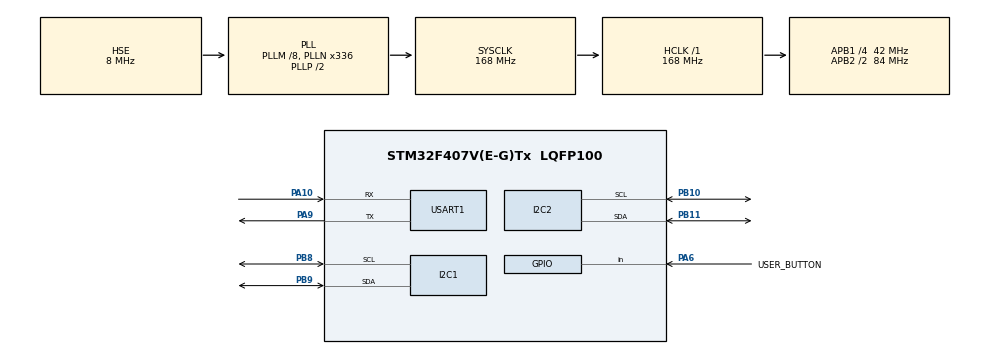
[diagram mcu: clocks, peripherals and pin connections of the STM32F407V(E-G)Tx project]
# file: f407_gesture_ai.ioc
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FREERTOS.Tasks01=defaultTask,24,128,StartDefaultTask,Default,NULL,Dynamic,NULL,NULL
Mcu.Family=STM32F4
Mcu.Name=STM32F407V(E-G)Tx
Mcu.Package=LQFP100
NVIC.PriorityGroup=NVIC_PRIORITYGROUP_4
PA10.Mode=Asynchronous
PA10.Signal=USART1_RX
PA13.Mode=Serial_Wire
PA13.Signal=SYS_JTMS-SWDIO
PA14.Mode=Serial_Wire
PA14.Signal=SYS_JTCK-SWCLK
PA6.GPIO_Label=USER_BUTTON
PA6.GPIO_PuPd=GPIO_PULLUP
PA6.Signal=GPIO_Input
PA9.Mode=Asynchronous
PA9.Signal=USART1_TX
PB10.Mode=I2C
PB10.Signal=I2C2_SCL
PB11.Mode=I2C
PB11.Signal=I2C2_SDA
PB8.Mode=I2C
PB8.Signal=I2C1_SCL
PB9.Mode=I2C
PB9.Signal=I2C1_SDA
PH0-OSC_IN.Mode=HSE-External-Oscillator
PH0-OSC_IN.Signal=RCC_OSC_IN
PH1-OSC_OUT.Mode=HSE-External-Oscillator
PH1-OSC_OUT.Signal=RCC_OSC_OUT
ProjectManager.HeapSize=0x200
ProjectManager.StackSize=0x400
ProjectManager.TargetToolchain=MDK-ARM V5
RCC.48MHZClocksFreq_Value=48000000
RCC.AHBFreq_Value=168000000
RCC.APB1CLKDivider=RCC_HCLK_DIV4
RCC.APB1Freq_Value=42000000
RCC.APB1TimFreq_Value=84000000
RCC.APB2CLKDivider=RCC_HCLK_DIV2
RCC.APB2Freq_Value=84000000
RCC.APB2TimFreq_Value=168000000
RCC.CortexFreq_Value=168000000
RCC.HCLKFreq_Value=168000000
RCC.HSE_VALUE=8000000
RCC.HSI_VALUE=16000000
RCC.LSE_VALUE=32768
RCC.PLLM=8
RCC.PLLN=336
RCC.SYSCLKFreq_VALUE=168000000
RCC.SYSCLKSource=RCC_SYSCLKSOURCE_PLLCLK
RCC.VCOOutputFreq_Value=336000000
USART1.VirtualMode=VM_ASYNC
VP_FREERTOS_VS_CMSIS_V2.Mode=CMSIS_V2
VP_TIM6_VS_ClockSourceINT.Mode=Enable_Timer
board=custom

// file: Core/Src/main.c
/* USER CODE BEGIN Header */
/**
  ******************************************************************************
  * @file           : main.c
  * @brief          : Main program body
  ******************************************************************************
  * @attention
  *
  * Copyright (c) 2026 STMicroelectronics.
  * All rights reserved.
  *
  * This software is licensed under terms that can be found in the LICENSE file
  * in the root directory of this software component.
  * If no LICENSE file comes with this software, it is provided AS-IS.
  *
  ******************************************************************************
  */
/* USER CODE END Header */
#include "main.h"
#include "cmsis_os.h"
#include "i2c.h"
#include "tim.h"
#include "usart.h"
#include "gpio.h"
#include "app_config.h"
#include "uart_tx.h"

void SystemClock_Config(void);
void MX_FREERTOS_Init(void);

int main(void)
{

  /* MCU Configuration--------------------------------------------------------*/

  /* Reset of all peripherals, Initializes the Flash interface and the Systick. */
  HAL_Init();

  /* Configure the system clock */
  SystemClock_Config();

  /* Initialize all configured peripherals */
  MX_GPIO_Init();
  MX_I2C1_Init();
  MX_I2C2_Init();
  MX_USART1_UART_Init();
  MX_TIM6_Init();
  /* USER CODE BEGIN 2 */
#if APP_UART_TX_DMA
  /* USART1 TX is drained by DMA; the ring must exist before the scheduler
   * starts and before any task can log. */
  UartTx_Init(&huart1);
#endif
  /* USER CODE END 2 */

  /* Init scheduler */
  osKernelInitialize();  /* Call init function for freertos objects (in cmsis_os2.c) */
  MX_FREERTOS_Init();

  /* Start scheduler */
  osKernelStart();

  /* We should never get here as control is now taken by the scheduler */

  /* Infinite loop */
  while (1)
  {

  }
}

void SystemClock_Config(void)
{
  RCC_OscInitTypeDef RCC_OscInitStruct = {0};
  RCC_ClkInitTypeDef RCC_ClkInitStruct = {0};

  /** Configure the main internal regulator output voltage
  */
  __HAL_RCC_PWR_CLK_ENABLE();
  __HAL_PWR_VOLTAGESCALING_CONFIG(PWR_REGULATOR_VOLTAGE_SCALE1);

  /** Initializes the RCC Oscillators according to the specified parameters
  * in the RCC_OscInitTypeDef structure.
  */
  /* This board has an 8 MHz HSE crystal (Y2). 8 MHz / PLLM 8 = 1 MHz VCO
   * input, x PLLN 336 = 336 MHz VCO, / PLLP 2 = 168 MHz SYSCLK,
   * / PLLQ 7 = 48 MHz for USB/SDIO. */
  RCC_OscInitStruct.OscillatorType = RCC_OSCILLATORTYPE_HSE;
  RCC_OscInitStruct.HSEState = RCC_HSE_ON;
  RCC_OscInitStruct.PLL.PLLState = RCC_PLL_ON;
  RCC_OscInitStruct.PLL.PLLSource = RCC_PLLSOURCE_HSE;
  RCC_OscInitStruct.PLL.PLLM = 8;
  RCC_OscInitStruct.PLL.PLLN = 336;
  RCC_OscInitStruct.PLL.PLLP = RCC_PLLP_DIV2;
  RCC_OscInitStruct.PLL.PLLQ = 7;
  if (HAL_RCC_OscConfig(&RCC_OscInitStruct) != HAL_OK)
  {
    /* Do not brick the board if the crystal differs: fall back to HSI at
     * 168 MHz so the firmware can still boot and report over UART. */
    RCC_OscInitStruct.OscillatorType = RCC_OSCILLATORTYPE_HSI;
    RCC_OscInitStruct.HSIState = RCC_HSI_ON;
    RCC_OscInitStruct.HSICalibrationValue = RCC_HSICALIBRATION_DEFAULT;
    RCC_OscInitStruct.PLL.PLLState = RCC_PLL_ON;
    RCC_OscInitStruct.PLL.PLLSource = RCC_PLLSOURCE_HSI;
    RCC_OscInitStruct.PLL.PLLM = 8;
    RCC_OscInitStruct.PLL.PLLN = 168;
    RCC_OscInitStruct.PLL.PLLP = RCC_PLLP_DIV2;
    RCC_OscInitStruct.PLL.PLLQ = 4;
    if (HAL_RCC_OscConfig(&RCC_OscInitStruct) != HAL_OK)
    {
      Error_Handler();
    }
  }

  /** Initializes the CPU, AHB and APB buses clocks
  */
  RCC_ClkInitStruct.ClockType = RCC_CLOCKTYPE_HCLK|RCC_CLOCKTYPE_SYSCLK
                              |RCC_CLOCKTYPE_PCLK1|RCC_CLOCKTYPE_PCLK2;
  RCC_ClkInitStruct.SYSCLKSource = RCC_SYSCLKSOURCE_PLLCLK;
  RCC_ClkInitStruct.AHBCLKDivider = RCC_SYSCLK_DIV1;
  RCC_ClkInitStruct.APB1CLKDivider = RCC_HCLK_DIV4;
  RCC_ClkInitStruct.APB2CLKDivider = RCC_HCLK_DIV2;

  if (HAL_RCC_ClockConfig(&RCC_ClkInitStruct, FLASH_LATENCY_5) != HAL_OK)
  {
    Error_Handler();
  }
}

void Error_Handler(void)
{
  __disable_irq();
  while (1)
  {
  }
}

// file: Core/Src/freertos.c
/* USER CODE BEGIN Header */
/**
  ******************************************************************************
  * File Name          : freertos.c
  * Description        : Application tasks for the gesture recognition demo.
  ******************************************************************************
  * @attention
  *
  * Copyright (c) 2026 STMicroelectronics.
  * All rights reserved.
  *
  * This software is licensed under terms that can be found in the LICENSE file
  * in the root directory of this software component.
  * If no LICENSE file comes with this software, it is provided AS-IS.
  *
  ******************************************************************************
  */
/* USER CODE END Header */

#include "FreeRTOS.h"
#include "task.h"
#include "main.h"
#include "cmsis_os.h"
#include "i2c.h"
#include "tim.h"
#include "usart.h"
#include "mpu6050.h"
#include "gesture_preprocess.h"
#include "gesture_event.h"
#include "gesture_inference.h"
#include "oled_ssd1306.h"
#include "gesture_proto.h"
#include "app_config.h"
#include "app_events.h"
#include "uart_tx.h"
#include <string.h>

/* USER CODE BEGIN Variables */
static GestureEvent gesture_event;
static MPU6050_RawData imu_baseline;
static MPU6050_RawData downsampled_sequence[APP_SEQUENCE_SAMPLES];
static int8_t gesture_input[GESTURE_WINDOW_SIZE * GESTURE_FEATURE_COUNT];
static osThreadId_t inferenceTaskHandle;
static osMutexId_t uart_mutex;

static uint8_t inference_ready = 0U;
static uint8_t imu_ready = 0U;
static uint8_t oled_ready = 0U;

/* Written by the TIM6 ISR, consumed by StartDefaultTask. */
static volatile uint32_t s_sample_tick;
static volatile uint8_t s_sample_pending;
static volatile uint32_t s_sample_overruns;

/* Command channel (AA 55 + func + len + payload + CRC16). */
static uint8_t g_proto_capture_req = 0xFFU;  /* 0xFF = none, 0 = stop, 1 = start */
static uint8_t g_tx_frame[PROTO_MAX_FRAME];

static uint32_t s_imu_error_count;
static uint32_t s_imu_last_retry;

static void Proto_HandleCommands(uint8_t *capture_active);
static void Proto_SendStatus(uint8_t capture_active);
static void Proto_SendAck(uint8_t func, uint8_t code);
static void Proto_SendFrame(uint8_t func, const uint8_t *payload, uint8_t len);

/* USER CODE END Variables */
/* Definitions for defaultTask */
osThreadId_t defaultTaskHandle;
const osThreadAttr_t defaultTask_attributes = {
  .name = "defaultTask",
  .stack_size = APP_STACK_DEFAULT_BYTES,
  .priority = (osPriority_t) osPriorityNormal,
};
const osThreadAttr_t inferenceTask_attributes = {
  .name = "inferenceTask",
  .stack_size = APP_STACK_INFERENCE_BYTES,
  .priority = (osPriority_t) osPriorityBelowNormal,
};

/* USER CODE BEGIN FunctionPrototypes */
static void Debug_SendText(const char *text);
static void Debug_SendWhoAmI(uint8_t who_am_i);
static void Debug_SendClock(void);
static void Debug_SendStack(uint32_t free_bytes);
static void Debug_SendLatency(uint32_t cycles);
static void Debug_EnableCycleCounter(void);
static void Debug_ScanI2C2(void);
static void Debug_ScanI2C1(void);
static void Debug_SendBuffer(const char *buffer, uint16_t length);
static char *Debug_AppendText(char *cursor, const char *text);
static char *Debug_AppendU32(char *cursor, uint32_t value);
static char *Debug_AppendI32(char *cursor, int32_t value);
static char *Debug_AppendHex8(char *cursor, uint8_t value);

static uint8_t Imu_InitAndCalibrate(int16_t *bias_x, int16_t *bias_y,
                                    int16_t *bias_z,
                                    MPU6050_RawData *baseline);
static uint8_t Imu_ReadAccelBaseline(MPU6050_RawData *baseline);
static void Capture_Start(void);
static void Capture_Stop(void);

/* USER CODE END FunctionPrototypes */

void StartDefaultTask(void *argument);
void StartInferenceTask(void *argument);

void MX_FREERTOS_Init(void); /* (MISRA C 2004 rule 8.1) */

void MX_FREERTOS_Init(void) {

  /* USER CODE BEGIN RTOS_MUTEX */
  uart_mutex = osMutexNew(NULL);
  /* USER CODE END RTOS_MUTEX */

  /* Create the thread(s) */
  defaultTaskHandle = osThreadNew(StartDefaultTask, NULL, &defaultTask_attributes);

  /* USER CODE BEGIN RTOS_THREADS */
  inferenceTaskHandle = osThreadNew(StartInferenceTask, NULL,
                                    &inferenceTask_attributes);
  /* USER CODE END RTOS_THREADS */

}

/* USER CODE BEGIN Application */

/* ==========================================================================
 * 100 Hz sample tick
 * ========================================================================== */
void App_OnSampleTickFromIsr(void)
{
  BaseType_t woken = pdFALSE;

  s_sample_tick = HAL_GetTick();
  if (s_sample_pending != 0U)
  {
    /* The previous tick has not been consumed yet.  Keep the newest timestamp
     * and count the miss instead of building an unbounded backlog. */
    ++s_sample_overruns;
  }
  s_sample_pending = 1U;

  if (defaultTaskHandle != NULL)
  {
    vTaskNotifyGiveFromISR((TaskHandle_t)defaultTaskHandle, &woken);
    portYIELD_FROM_ISR(woken);
  }
}

/* ==========================================================================
 * Command channel
 *   下行（设备 -> PC）: 0x01 状态, 0x7F 应答
 *   上行（PC -> 设备）: 0x81 查询状态, 0x87 运行控制
 *   帧: AA 55 | FUNC | LEN | PAYLOAD | CRC16_L CRC16_H
 * ========================================================================== */
static void Proto_SendFrame(uint8_t func, const uint8_t *payload, uint8_t len)
{
  uint16_t total = Proto_Pack(g_tx_frame, func, payload, len);
  if (total > 0U)
  {
    Debug_SendBuffer((const char *)g_tx_frame, total);
  }
}

static void Proto_SendAck(uint8_t func, uint8_t code)
{
  uint8_t payload[2];
  payload[0] = code;
  payload[1] = func;
  Proto_SendFrame(PROTO_F_ACK, payload, 2U);
}

static void Proto_SendStatus(uint8_t capture_active)
{
  uint8_t  payload[24];
  uint16_t i = 0U;
  uint32_t up = HAL_GetTick();
  uint32_t stack_free = (uint32_t)osThreadGetStackSpace(defaultTaskHandle);
  uint32_t overruns = s_sample_overruns;
  uint32_t uart_drops = UartTx_GetDropped();
  uint32_t imu_errors = s_imu_error_count;

  payload[i++] = capture_active;
  payload[i++] = inference_ready;
  payload[i++] = imu_ready;
  payload[i++] = (uint8_t)(up & 0xFFU);
  payload[i++] = (uint8_t)((up >> 8) & 0xFFU);
  payload[i++] = (uint8_t)((up >> 16) & 0xFFU);
  payload[i++] = (uint8_t)((up >> 24) & 0xFFU);
  payload[i++] = (uint8_t)(g_proto_stats.frames_ok & 0xFFU);
  payload[i++] = (uint8_t)((g_proto_stats.frames_ok >> 8) & 0xFFU);
  payload[i++] = (uint8_t)(g_proto_stats.frames_bad & 0xFFU);
  payload[i++] = (uint8_t)((g_proto_stats.frames_bad >> 8) & 0xFFU);
  payload[i++] = (uint8_t)(stack_free & 0xFFU);
  payload[i++] = (uint8_t)((stack_free >> 8) & 0xFFU);
  payload[i++] = (uint8_t)(overruns & 0xFFU);
  payload[i++] = (uint8_t)((overruns >> 8) & 0xFFU);
  payload[i++] = (uint8_t)(uart_drops & 0xFFU);
  payload[i++] = (uint8_t)((uart_drops >> 8) & 0xFFU);
  payload[i++] = (uint8_t)(imu_errors & 0xFFU);
  payload[i++] = (uint8_t)((imu_errors >> 8) & 0xFFU);
  payload[i++] = oled_ready;
  payload[i++] = (uint8_t)gesture_event.state;

  Proto_SendFrame(PROTO_F_STATUS, payload, (uint8_t)i);
}

static void Proto_HandleCommands(uint8_t *capture_active)
{
  uint8_t        func = 0U;
  uint8_t        len = 0U;
  const uint8_t *payload = 0;

  while (Proto_Pop(&func, &payload, &len) != 0)
  {
    switch (func)
    {
      case PROTO_F_REQ_STATUS:
        Proto_SendStatus((capture_active != 0) ? *capture_active : 0U);
        break;

      case PROTO_F_CTRL:
        if (len < 1U)
        {
          Proto_SendAck(func, PROTO_ACK_BAD_PARAM);
        }
        else if (payload[0] == PROTO_CTRL_CAPTURE_START)
        {
          g_proto_capture_req = 1U;   /* ack is sent after the mode switch */
        }
        else if (payload[0] == PROTO_CTRL_CAPTURE_STOP)
        {
          g_proto_capture_req = 0U;
        }
        else if (payload[0] == PROTO_CTRL_RESET)
        {
          Proto_StatsReset();
          Proto_SendAck(func, PROTO_ACK_OK);
        }
        else
        {
          Proto_SendAck(func, PROTO_ACK_BAD_PARAM);
        }
        break;

      default:
        Proto_SendAck(func, PROTO_ACK_BAD_FUNC);
        break;
    }
  }
}

/* ==========================================================================
 * Acquisition helpers
 * ========================================================================== */
static uint8_t Imu_ReadAccelBaseline(MPU6050_RawData *baseline)
{
  MPU6050_RawData sample;
  int32_t ax = 0;
  int32_t ay = 0;
  int32_t az = 0;
  uint16_t index;

  if (baseline == 0)
  {
    return 0U;
  }
  for (index = 0U; index < 50U; ++index)
  {
    if (MPU6050_ReadRaw(&hi2c2, &sample) != HAL_OK)
    {
      return 0U;
    }
    ax += sample.accel_x;
    ay += sample.accel_y;
    az += sample.accel_z;
    HAL_Delay(5U);
  }
  baseline->accel_x = (int16_t)(ax / 50);
  baseline->accel_y = (int16_t)(ay / 50);
  baseline->accel_z = (int16_t)(az / 50);
  baseline->gyro_x = 0;
  baseline->gyro_y = 0;
  baseline->gyro_z = 0;
  return 1U;
}

static uint8_t Imu_InitAndCalibrate(int16_t *bias_x, int16_t *bias_y,
                                    int16_t *bias_z,
                                    MPU6050_RawData *baseline)
{
  uint8_t who_am_i = 0U;

  if (MPU6050_Init(&hi2c2) != HAL_OK)
  {
    Debug_SendText("MPU6050 init failed\r\n");
    return 0U;
  }
  if (MPU6050_ReadWhoAmI(&hi2c2, &who_am_i) != HAL_OK)
  {
    Debug_SendText("MPU6050 WHO_AM_I read failed\r\n");
    return 0U;
  }

  Debug_SendWhoAmI(who_am_i);
  if (who_am_i != MPU6050_WHO_AM_I_VALUE)
  {
    Debug_SendText("MPU6050 unexpected WHO_AM_I\r\n");
    return 0U;
  }

  Debug_SendText("gyro calibration: keep sensor still\r\n");
  if (MPU6050_CalibrateGyro(&hi2c2,
                            APP_GYRO_CAL_SAMPLES,
                            APP_GYRO_CAL_INTERVAL_MS,
                            APP_GYRO_CAL_DISCARD,
                            bias_x, bias_y, bias_z) != HAL_OK)
  {
    Debug_SendText("gyro calibration failed\r\n");
    return 0U;
  }

  {
    char message[64];
    char *cursor = message;
    cursor = Debug_AppendText(cursor, "gyro_bias,");
    cursor = Debug_AppendI32(cursor, *bias_x);
    *cursor++ = ',';
    cursor = Debug_AppendI32(cursor, *bias_y);
    *cursor++ = ',';
    cursor = Debug_AppendI32(cursor, *bias_z);
    *cursor++ = '\r';
    *cursor++ = '\n';
    *cursor = '\0';
    Debug_SendBuffer(message, (uint16_t)(cursor - message));
  }

  if (Imu_ReadAccelBaseline(baseline) == 0U)
  {
    Debug_SendText("accel baseline failed\r\n");
    return 0U;
  }
  return 1U;
}

static void Capture_Start(void)
{
  Debug_SendText("capture,start\r\n");
  Debug_SendText("timestamp,ax,ay,az,gx,gy,gz\r\n");
  GestureEvent_Reset(&gesture_event);
}

static void Capture_Stop(void)
{
  Debug_SendText("capture,stop\r\n");
  GestureEvent_Reset(&gesture_event);
}

/* ==========================================================================
 * Default task: 100 Hz acquisition + command handling + button
 * ========================================================================== */
void StartDefaultTask(void *argument)
{
  MPU6050_RawData imu_data;
  int16_t gyro_bias_x = 0;
  int16_t gyro_bias_y = 0;
  int16_t gyro_bias_z = 0;
  uint32_t sample_index = 0U;
  uint32_t last_timestamp = 0U;
  char message[96];
  uint8_t capture_active = 0U;
  GPIO_PinState stable_button = HAL_GPIO_ReadPin(KEY0_GPIO_Port, KEY0_Pin);
  GPIO_PinState last_button = stable_button;
  uint32_t last_button_change = HAL_GetTick();

  (void)argument;

  memset(&imu_baseline, 0, sizeof(imu_baseline));
  memset(&gesture_event, 0, sizeof(gesture_event));
  inference_ready = 0U;
  oled_ready = 0U;

  Debug_SendText(APP_FIRMWARE_NAME " v" APP_FIRMWARE_VERSION " started\r\n");
  Debug_SendClock();

  imu_ready = Imu_InitAndCalibrate(&gyro_bias_x, &gyro_bias_y, &gyro_bias_z,
                                   &imu_baseline);
  if (imu_ready != 0U)
  {
    GestureEvent_Init(&gesture_event, &imu_baseline);
  }
  else
  {
    Debug_ScanI2C2();
    s_imu_last_retry = HAL_GetTick();
  }

  if (GestureInference_Init() != 0U)
  {
    inference_ready = 1U;
    Debug_SendText("gesture inference ready\r\n");
  }
  else
  {
    Debug_SendText("gesture inference init failed\r\n");
  }

#if APP_ENABLE_OLED
  if (OLED_Init(&hi2c1) != 0U)
  {
    oled_ready = 1U;
    OLED_ShowGesture("neutral", 100U);
    Debug_SendText("oled ready\r\n");
  }
  else
  {
    Debug_SendText("oled,no_device\r\n");
    Debug_ScanI2C1();
  }
#endif

  Debug_EnableCycleCounter();

#if APP_RUN_BOOT_BENCHMARK
  if (inference_ready != 0U)
  {
    int bench_class = -1;
    uint8_t bench_confidence = 0U;
    uint32_t wall_start;
    uint32_t wall_end;
    uint32_t cycle_start;
    uint32_t cycle_end;
    uint32_t cycles_per_us = SystemCoreClock / 1000000U;
    char *cursor = message;

    memset(gesture_input, 0, sizeof(gesture_input));
    wall_start = HAL_GetTick();
    cycle_start = DWT->CYCCNT;
    (void)GestureInference_Run(gesture_input, &bench_class, &bench_confidence);
    cycle_end = DWT->CYCCNT;
    wall_end = HAL_GetTick();

    cursor = Debug_AppendText(cursor, "bench_ms,");
    cursor = Debug_AppendU32(cursor, wall_end - wall_start);
    cursor = Debug_AppendText(cursor, ",bench_us,");
    cursor = Debug_AppendU32(cursor,
                             (cycle_end - cycle_start) /
                                 (cycles_per_us != 0U ? cycles_per_us : 1U));
    cursor = Debug_AppendText(cursor, ",arena_used,");
    cursor = Debug_AppendU32(cursor, GestureInference_GetArenaUsed());
    *cursor++ = '\r';
    *cursor++ = '\n';
    *cursor = '\0';
    Debug_SendBuffer(message, (uint16_t)(cursor - message));
  }
#endif

  Debug_SendStack(osThreadGetStackSpace(defaultTaskHandle));

  /* Start the 100 Hz hardware tick only after the scheduler is running. */
  (void)HAL_TIM_Base_Start_IT(&htim6);
  Debug_SendText("sampling,100\r\n");

  for (;;)
  {
    uint32_t now = HAL_GetTick();
    uint32_t sample_tick = 0U;
    uint8_t have_sample = 0U;
    GPIO_PinState raw_button;

    (void)ulTaskNotifyTake(pdTRUE, pdMS_TO_TICKS(20U));

    taskENTER_CRITICAL();
    if (s_sample_pending != 0U)
    {
      sample_tick = s_sample_tick;
      s_sample_pending = 0U;
      have_sample = 1U;
    }
    taskEXIT_CRITICAL();

    /* Command channel. */
    Proto_HandleCommands(&capture_active);
    if (g_proto_capture_req != 0xFFU)
    {
      uint8_t want = g_proto_capture_req;
      g_proto_capture_req = 0xFFU;
      if ((want != 0U) && (imu_ready == 0U))
      {
        Proto_SendAck(PROTO_F_CTRL, PROTO_ACK_BUSY);
      }
      else if (want != capture_active)
      {
        capture_active = want;
        if (want != 0U)
        {
          Capture_Start();
        }
        else
        {
          Capture_Stop();
        }
        GestureEvent_Reset(&gesture_event);
        Proto_SendAck(PROTO_F_CTRL, PROTO_ACK_OK);
      }
    }

    /* Button: KEY0 is active low, debounced in task context. */
    raw_button = HAL_GPIO_ReadPin(KEY0_GPIO_Port, KEY0_Pin);
    if (raw_button != last_button)
    {
      last_button = raw_button;
      last_button_change = now;
    }
    if ((now - last_button_change) >= APP_BUTTON_DEBOUNCE_MS &&
        raw_button != stable_button)
    {
      stable_button = raw_button;
      if (stable_button == GPIO_PIN_RESET)
      {
        if ((capture_active == 0U) && (imu_ready == 0U))
        {
          Debug_SendText("capture,unavailable\r\n");
        }
        else
        {
          capture_active = (capture_active == 0U) ? 1U : 0U;
          if (capture_active != 0U)
          {
            Capture_Start();
          }
          else
          {
            Capture_Stop();
          }
        }
      }
    }

    if (have_sample != 0U)
    {
      if (imu_ready != 0U)
      {
        if (MPU6050_ReadRaw(&hi2c2, &imu_data) == HAL_OK)
        {
          s_imu_error_count = 0U;
          imu_data.gyro_x = (int16_t)(imu_data.gyro_x - gyro_bias_x);
          imu_data.gyro_y = (int16_t)(imu_data.gyro_y - gyro_bias_y);
          imu_data.gyro_z = (int16_t)(imu_data.gyro_z - gyro_bias_z);

          if (capture_active != 0U)
          {
            char *cursor = message;
            if (sample_tick <= last_timestamp)
            {
              sample_tick = last_timestamp + 1U;
            }
            last_timestamp = sample_tick;

            cursor = Debug_AppendU32(cursor, sample_tick);
            *cursor++ = ',';
            cursor = Debug_AppendI32(cursor, imu_data.accel_x);
            *cursor++ = ',';
            cursor = Debug_AppendI32(cursor, imu_data.accel_y);
            *cursor++ = ',';
            cursor = Debug_AppendI32(cursor, imu_data.accel_z);
            *cursor++ = ',';
            cursor = Debug_AppendI32(cursor, imu_data.gyro_x);
            *cursor++ = ',';
            cursor = Debug_AppendI32(cursor, imu_data.gyro_y);
            *cursor++ = ',';
            cursor = Debug_AppendI32(cursor, imu_data.gyro_z);
            *cursor++ = '\r';
            *cursor++ = '\n';
            *cursor = '\0';
            Debug_SendBuffer(message, (uint16_t)(cursor - message));
          }
          else
          {
            if ((sample_index % APP_IDLE_IMU_LOG_EVERY) == 0U)
            {
              char *cursor = message;
              cursor = Debug_AppendText(cursor, "imu,");
              cursor = Debug_AppendI32(cursor, imu_data.accel_x);
              *cursor++ = ',';
              cursor = Debug_AppendI32(cursor, imu_data.accel_y);
              *cursor++ = ',';
              cursor = Debug_AppendI32(cursor, imu_data.accel_z);
              *cursor++ = ',';
              cursor = Debug_AppendI32(cursor, imu_data.gyro_x);
              *cursor++ = ',';
              cursor = Debug_AppendI32(cursor, imu_data.gyro_y);
              *cursor++ = ',';
              cursor = Debug_AppendI32(cursor, imu_data.gyro_z);
              *cursor++ = '\r';
              *cursor++ = '\n';
              *cursor = '\0';
              Debug_SendBuffer(message, (uint16_t)(cursor - message));
            }

            if (inference_ready != 0U)
            {
              uint8_t event_flags = GestureEvent_Update(&gesture_event, &imu_data);

              if ((event_flags & GESTURE_EVENT_FLAG_ONSET) != 0U)
              {
#if APP_DEBUG_EVENTS
                Debug_SendText("event,onset\r\n");
#endif
              }
              if ((event_flags & GESTURE_EVENT_FLAG_READY) != 0U)
              {
#if APP_DEBUG_EVENTS
                Debug_SendText("event,ready\r\n");
#endif
                GestureEvent_SetState(&gesture_event, GESTURE_EVENT_INFER);
                (void)osThreadFlagsSet(inferenceTaskHandle, 1U);
              }
              else if ((event_flags & GESTURE_EVENT_FLAG_RELEASED) != 0U)
              {
                Debug_SendText("gesture,neutral,100\r\n");
#if APP_ENABLE_OLED
                if (oled_ready != 0U)
                {
                  OLED_ShowGesture("neutral", 100U);
                }
#endif
              }
            }
          }
          ++sample_index;
        }
        else
        {
          ++s_imu_error_count;
          if (s_imu_error_count >= 10U)
          {
            imu_ready = 0U;
            s_imu_last_retry = now;
            Debug_SendText("imu,offline\r\n");
            if (capture_active != 0U)
            {
              capture_active = 0U;
              Capture_Stop();
            }
          }
        }
      }
    }

    /* Retry a missing sensor, but never while a capture is running. */
    if ((imu_ready == 0U) && (capture_active == 0U) &&
        ((now - s_imu_last_retry) >= APP_IMU_RETRY_MS))
    {
      s_imu_last_retry = now;
      imu_ready = Imu_InitAndCalibrate(&gyro_bias_x, &gyro_bias_y,
                                       &gyro_bias_z, &imu_baseline);
      if (imu_ready != 0U)
      {
        Debug_SendText("imu,online\r\n");
        GestureEvent_Init(&gesture_event, &imu_baseline);
      }
    }

    /* In case a DMA restart ever failed, retry from task context. */
    UartTx_Kick();
  }
}

/* ==========================================================================
 * Inference task
 * ========================================================================== */
void StartInferenceTask(void *argument)
{
  char message[96];
  uint32_t inference_count = 0U;

  (void)argument;

  for (;;)
  {
    (void)osThreadFlagsWait(1U, osFlagsWaitAny, osWaitForever);

    if (gesture_event.state != GESTURE_EVENT_INFER)
    {
      continue;
    }

    {
      const MPU6050_RawData *raw = GestureEvent_GetSamples(&gesture_event);
      uint16_t count = GestureEvent_GetCount(&gesture_event);
      int class_index = -1;
      uint8_t confidence = 0U;
      uint32_t elapsed_cycles = 0U;
      uint8_t inference_ok = 0U;

      if ((raw != 0) && (count >= APP_SEQUENCE_RAW_SAMPLES))
      {
        uint16_t index;
        uint32_t start_cycles;

        for (index = 0U; index < APP_SEQUENCE_SAMPLES; ++index)
        {
          const MPU6050_RawData *a = &raw[index * APP_SEQUENCE_DOWNSAMPLE];
          const MPU6050_RawData *b = &raw[index * APP_SEQUENCE_DOWNSAMPLE + 1U];

          downsampled_sequence[index].accel_x =
              (int16_t)(((int32_t)a->accel_x + b->accel_x) / 2);
          downsampled_sequence[index].accel_y =
              (int16_t)(((int32_t)a->accel_y + b->accel_y) / 2);
          downsampled_sequence[index].accel_z =
              (int16_t)(((int32_t)a->accel_z + b->accel_z) / 2);
          downsampled_sequence[index].gyro_x =
              (int16_t)(((int32_t)a->gyro_x + b->gyro_x) / 2);
          downsampled_sequence[index].gyro_y =
              (int16_t)(((int32_t)a->gyro_y + b->gyro_y) / 2);
          downsampled_sequence[index].gyro_z =
              (int16_t)(((int32_t)a->gyro_z + b->gyro_z) / 2);
        }

        Gesture_PreprocessWindow(downsampled_sequence, gesture_input);
        start_cycles = DWT->CYCCNT;
        inference_ok = GestureInference_Run(gesture_input, &class_index,
                                            &confidence);
        elapsed_cycles = DWT->CYCCNT - start_cycles;

#if APP_LIFT_AZ_RULE
        if (inference_ok != 0U)
        {
          int32_t az_sum = 0;
          uint16_t index;

          for (index = 0U; index < APP_LIFT_AZ_WINDOW; ++index)
          {
            az_sum += raw[index].accel_z;
          }

          if ((az_sum / (int32_t)APP_LIFT_AZ_WINDOW -
               (int32_t)imu_baseline.accel_z) > APP_LIFT_AZ_DELTA)
          {
            class_index = 0;  /* lift, regardless of the model's class */
            if (confidence < APP_LIFT_MIN_CONFIDENCE)
            {
              confidence = APP_LIFT_MIN_CONFIDENCE;
            }
          }
        }
#endif

#if APP_TILT_GZ_RULE
        if ((inference_ok != 0U) &&
            ((class_index == 4) || (class_index == 5)))
        {
          int32_t gz_sum = 0;
          uint16_t index;
          const int32_t threshold =
              (int32_t)APP_TILT_GZ_WINDOW * APP_TILT_GZ_MIN_DPS * 131;

          for (index = 0U; index < APP_TILT_GZ_WINDOW; ++index)
          {
            gz_sum += raw[index].gyro_z;
          }
          if (gz_sum < -threshold)
          {
            class_index = 4;
          }
          else if (gz_sum > threshold)
          {
            class_index = 5;
          }
        }
#endif
      }

      if (inference_ok != 0U)
      {
        Debug_SendLatency(elapsed_cycles);

        {
          char *cursor = message;
          cursor = Debug_AppendText(cursor, "gesture,");
          cursor = Debug_AppendText(cursor, gesture_class_names[class_index]);
          *cursor++ = ',';
          cursor = Debug_AppendU32(cursor, (uint32_t)confidence);
          *cursor++ = '\r';
          *cursor++ = '\n';
          *cursor = '\0';
          Debug_SendBuffer(message, (uint16_t)(cursor - message));
        }
#if APP_ENABLE_OLED
        if (oled_ready != 0U)
        {
          OLED_ShowGesture(gesture_class_names[class_index], confidence);
        }
#endif
        GestureEvent_SetState(&gesture_event, GESTURE_EVENT_LATCHED);
      }
      else
      {
        Debug_SendText("gesture,inference_failed\r\n");
        GestureEvent_Reset(&gesture_event);
      }

      ++inference_count;
      if ((inference_count % 20U) == 0U)
      {
        Debug_SendStack(osThreadGetStackSpace(inferenceTaskHandle));
      }
    }
  }
}

/* ==========================================================================
 * Small non-blocking logging helpers
 * ========================================================================== */
static void Debug_SendText(const char *text)
{
#if APP_UART_TX_DMA
  (void)UartTx_WriteString(text);
#else
  uint16_t length = 0U;
  while (text[length] != '\0')
  {
    ++length;
  }
  if (uart_mutex != NULL)
  {
    (void)osMutexAcquire(uart_mutex, osWaitForever);
  }
  (void)HAL_UART_Transmit(&huart1, (uint8_t *)text, length, 100U);
  if (uart_mutex != NULL)
  {
    (void)osMutexRelease(uart_mutex);
  }
#endif
}

static void Debug_SendBuffer(const char *buffer, uint16_t length)
{
#if APP_UART_TX_DMA
  (void)UartTx_Write(buffer, length);
#else
  if (uart_mutex != NULL)
  {
    (void)osMutexAcquire(uart_mutex, osWaitForever);
  }
  (void)HAL_UART_Transmit(&huart1, (uint8_t *)buffer, length, 100U);
  if (uart_mutex != NULL)
  {
    (void)osMutexRelease(uart_mutex);
  }
#endif
}

static char *Debug_AppendText(char *cursor, const char *text)
{
  while (*text != '\0')
  {
    *cursor++ = *text++;
  }
  return cursor;
}

static char *Debug_AppendU32(char *cursor, uint32_t value)
{
  char digits[10];
  uint32_t count = 0U;

  if (value == 0U)
  {
    *cursor++ = '0';
    return cursor;
  }
  while (value > 0U && count < (uint32_t)sizeof(digits))
  {
    digits[count++] = (char)('0' + (value % 10U));
    value /= 10U;
  }
  while (count > 0U)
  {
    *cursor++ = digits[--count];
  }
  return cursor;
}

static char *Debug_AppendI32(char *cursor, int32_t value)
{
  if (value < 0)
  {
    uint32_t magnitude = (uint32_t)(-(value + 1)) + 1U;
    *cursor++ = '-';
    return Debug_AppendU32(cursor, magnitude);
  }
  return Debug_AppendU32(cursor, (uint32_t)value);
}

static char *Debug_AppendHex8(char *cursor, uint8_t value)
{
  static const char hex[] = "0123456789ABCDEF";
  *cursor++ = hex[(value >> 4) & 0x0FU];
  *cursor++ = hex[value & 0x0FU];
  return cursor;
}

static void Debug_SendWhoAmI(uint8_t who_am_i)
{
  char message[] = "MPU6050 WHO_AM_I=0x00\r\n";
  message[19] = "0123456789ABCDEF"[(who_am_i >> 4) & 0x0FU];
  message[20] = "0123456789ABCDEF"[who_am_i & 0x0FU];
  Debug_SendText(message);
}

static void Debug_SendClock(void)
{
  char message[48];
  uint32_t pll_source = RCC->PLLCFGR & RCC_PLLCFGR_PLLSRC_HSE;
  char *cursor = message;

  cursor = Debug_AppendText(cursor, "clock,");
  cursor = Debug_AppendText(cursor, (pll_source != 0U) ? "hse" : "hsi");
  *cursor++ = ',';
  cursor = Debug_AppendU32(cursor, HAL_RCC_GetSysClockFreq());
  *cursor++ = '\r';
  *cursor++ = '\n';
  *cursor = '\0';
  Debug_SendBuffer(message, (uint16_t)(cursor - message));
}

static void Debug_SendStack(uint32_t free_bytes)
{
  char message[32];
  char *cursor = message;

  cursor = Debug_AppendText(cursor, "stack_free,");
  cursor = Debug_AppendU32(cursor, free_bytes);
  *cursor++ = '\r';
  *cursor++ = '\n';
  *cursor = '\0';
  Debug_SendBuffer(message, (uint16_t)(cursor - message));
}

static void Debug_SendLatency(uint32_t cycles)
{
  char message[32];
  uint32_t cycles_per_us = (uint32_t)(SystemCoreClock / 1000000U);
  char *cursor = message;

  if (cycles_per_us == 0U)
  {
    cycles_per_us = 1U;
  }
  cursor = Debug_AppendText(cursor, "infer_us,");
  cursor = Debug_AppendU32(cursor, cycles / cycles_per_us);
  *cursor++ = '\r';
  *cursor++ = '\n';
  *cursor = '\0';
  Debug_SendBuffer(message, (uint16_t)(cursor - message));
}

static void Debug_ScanI2C1(void)
{
  char message[32];
  uint8_t address;
  uint8_t found = 0U;

  for (address = 0x08U; address <= 0x77U; ++address)
  {
    if (HAL_I2C_IsDeviceReady(&hi2c1, (uint16_t)(address << 1), 1U, 5U) == HAL_OK)
    {
      char *cursor = message;
      cursor = Debug_AppendText(cursor, "i2c1,0x");
      cursor = Debug_AppendHex8(cursor, address);
      *cursor++ = '\r';
      *cursor++ = '\n';
      *cursor = '\0';
      Debug_SendBuffer(message, (uint16_t)(cursor - message));
      ++found;
    }
  }

  if (found == 0U)
  {
    Debug_SendText("i2c1,no_device\r\n");
  }
}

static void Debug_EnableCycleCounter(void)
{
  CoreDebug->DEMCR |= CoreDebug_DEMCR_TRCENA_Msk;
  DWT->CYCCNT = 0U;
  DWT->CTRL |= DWT_CTRL_CYCCNTENA_Msk;
}

static void Debug_ScanI2C2(void)
{
  char message[32];
  uint8_t address;
  uint8_t found = 0U;

  for (address = 0x08U; address <= 0x77U; ++address)
  {
    if (HAL_I2C_IsDeviceReady(&hi2c2, (uint16_t)(address << 1), 1U, 5U) == HAL_OK)
    {
      char *cursor = message;
      cursor = Debug_AppendText(cursor, "i2c,0x");
      cursor = Debug_AppendHex8(cursor, address);
      *cursor++ = '\r';
      *cursor++ = '\n';
      *cursor = '\0';
      Debug_SendBuffer(message, (uint16_t)(cursor - message));
      ++found;
    }
  }

  if (found == 0U)
  {
    Debug_SendText("i2c,no_device\r\n");
  }
}

/* USER CODE END Application */
